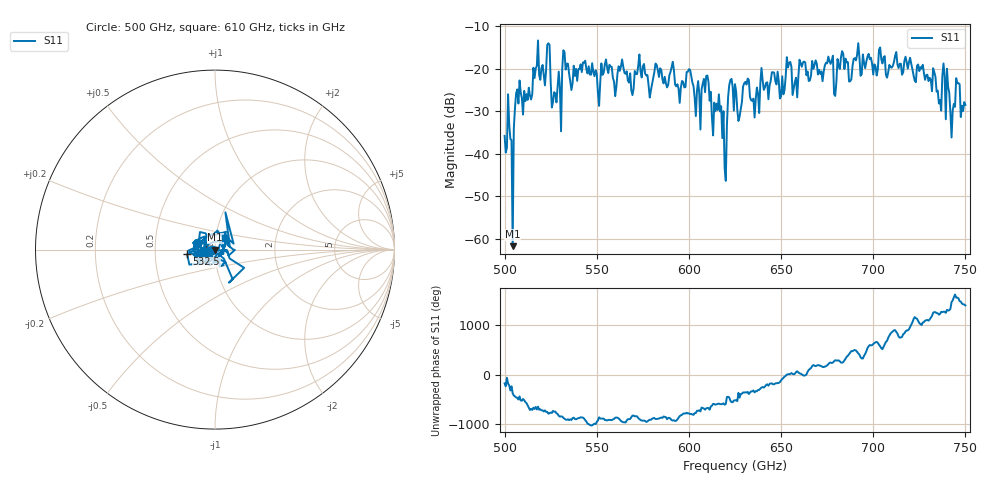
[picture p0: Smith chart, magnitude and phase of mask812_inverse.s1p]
!Created with skrf (http://scikit-rf.org).
# GHz S MA R 50.0
!freq magS11 angS11
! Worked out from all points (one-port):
!   401 points, 500 GHz to 750 GHz, reference 50 ohm
!   lowest |S11| = -61.8 dB at 504.4 GHz (marker M1), VSWR 1.00, Z = 50.1 - j0.0239 ohm
!   |S11| at or under -10 dB: start of sweep to end of sweep
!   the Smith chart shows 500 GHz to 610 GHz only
!   S11 on the Smith chart (normalised r, x): 500 GHz: 0.97, -0.00; 532.5 GHz: 0.73, -0.04; 610 GHz: 1.11, +0.14
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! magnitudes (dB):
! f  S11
! 500 GHz  -35.8
! 502.5 GHz  -33.1
! 504.4 GHz  -61.8
! 506.9 GHz  -24.9
! 513.8 GHz  -26.3
! 516.9 GHz  -20.0
! 523.8 GHz  -14.0
! 526.9 GHz  -25.5
! 531.2 GHz  -20.1
! 532.5 GHz  -16.1
! 550.6 GHz  -25.6
! 562.5 GHz  -20.5
! 590.6 GHz  -19.6
! 593.8 GHz  -23.6
! 610 GHz  -21.6
! 617.5 GHz  -28.8
! 619.4 GHz  -43.4
! 622.5 GHz  -22.7
! 625 GHz  -23.6
! 656.2 GHz  -26.2
! 687.5 GHz  -22.9
! 691.2 GHz  -16.7
! 718.8 GHz  -20.0
! 735.6 GHz  -28.2
! 738.8 GHz  -21.8
! 743.1 GHz  -29.8
! 745.6 GHz  -23.4
! 750 GHz  -28.5
